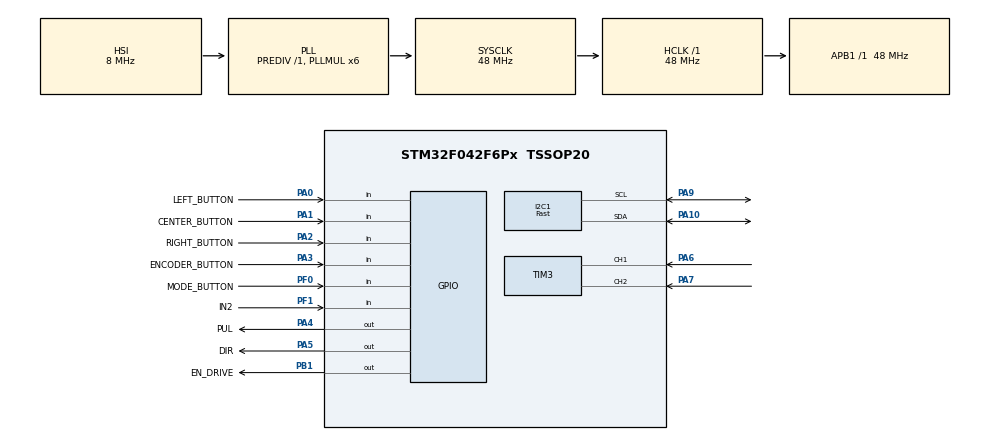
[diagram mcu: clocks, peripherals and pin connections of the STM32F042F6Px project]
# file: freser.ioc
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I2C1.I2C_Speed_Mode=I2C_Fast
I2C1.Timing=0x0000020B
Mcu.Family=STM32F0
Mcu.Name=STM32F042F6Px
Mcu.Package=TSSOP20
PA0.GPIO_Label=LEFT_BUTTON
PA0.GPIO_PuPd=GPIO_PULLDOWN
PA0.Signal=GPIO_Input
PA1.GPIO_Label=CENTER_BUTTON
PA1.GPIO_PuPd=GPIO_PULLDOWN
PA1.Signal=GPIO_Input
PA10.Mode=I2C
PA10.Signal=I2C1_SDA
PA13.Mode=Serial_Wire
PA13.Signal=SYS_SWDIO
PA14.Mode=Serial_Wire
PA14.Signal=SYS_SWCLK
PA2.GPIO_Label=RIGHT_BUTTON
PA2.GPIO_PuPd=GPIO_PULLDOWN
PA2.Signal=GPIO_Input
PA3.GPIO_Label=ENCODER_BUTTON
PA3.Signal=GPIO_Input
PA4.GPIO_Label=PUL
PA4.Signal=GPIO_Output
PA5.GPIO_Label=DIR
PA5.Signal=GPIO_Output
PA6.GPIO_PuPd=GPIO_PULLUP
PA6.Signal=S_TIM3_CH1
PA7.GPIO_PuPd=GPIO_PULLUP
PA7.Signal=S_TIM3_CH2
PA9.Mode=I2C
PA9.Signal=I2C1_SCL
PB1.GPIO_Label=EN_DRIVE
PB1.Signal=GPIO_Output
PF0-OSC_IN.GPIO_Label=MODE_BUTTON
PF0-OSC_IN.Signal=GPIO_Input
PF1-OSC_OUT.GPIO_Label=IN2
PF1-OSC_OUT.Signal=GPIO_Input
ProjectManager.HeapSize=0x200
ProjectManager.StackSize=0x400
ProjectManager.TargetToolchain=MDK-ARM V5.32
RCC.AHBFreq_Value=48000000
RCC.APB1Freq_Value=48000000
RCC.APB1TimFreq_Value=48000000
RCC.HCLKFreq_Value=48000000
RCC.PLLMUL=RCC_PLL_MUL6
RCC.SYSCLKFreq_VALUE=48000000
RCC.SYSCLKSource=RCC_SYSCLKSOURCE_PLLCLK
SH.S_TIM3_CH1.0=TIM3_CH1,Encoder_Interface
SH.S_TIM3_CH2.0=TIM3_CH2,Encoder_Interface
TIM3.IC1Filter=1
TIM3.IC2Filter=2
board=custom

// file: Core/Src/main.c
/* USER CODE BEGIN Header */
/**
  ******************************************************************************
  * @file           : main.c
  * @brief          : Main program body
  ******************************************************************************
  * @attention
  *
  * Copyright (c) 2023 STMicroelectronics.
  * All rights reserved.
  *
  * This software is licensed under terms that can be found in the LICENSE file
  * in the root directory of this software component.
  * If no LICENSE file comes with this software, it is provided AS-IS.
  *
  ******************************************************************************
  */
/* USER CODE END Header */
#include "main.h"
#include "i2c.h"
#include "tim.h"
#include "gpio.h"

/* USER CODE BEGIN Includes */
#include "typedef.h"
#include "ssd1306.h"
#include "button.h"
#include "drive.h"
#include "eeprom.h"
#include "angle_calc.h"
/* USER CODE END Includes */

/* USER CODE BEGIN PV */

angular_data_t curr_rotation = {0}; //структура с угловыми данными привода
encoder_data_t encoder_data = {0}; //структура с данными энкодера
milling_data_t milling_mode = {0};
STATUS_FLAG_t status_flag;

__IO uint16_t key_code = NO_KEY;
/* USER CODE END PV */

void SystemClock_Config(void);
/* USER CODE BEGIN PFP */
void SetupRotationMode (encoder_data_t *, angular_data_t *, uint8_t * );
void SetupMillingMode (milling_data_t *, encoder_data_t *, angular_data_t *, uint8_t *);
void init_setup (milling_data_t * , angular_data_t * , STATUS_FLAG_t * , uint8_t * );
/* USER CODE END PFP */

/* USER CODE BEGIN 0 */
//---------------------------------------------------------------------------------=-------------------//

/* USER CODE END 0 */

int main(void)
{

  /* MCU Configuration--------------------------------------------------------*/

  /* Reset of all peripherals, Initializes the Flash interface and the Systick. */
  HAL_Init();

  /* Configure the system clock */
  SystemClock_Config();

  /* Initialize all configured peripherals */
  MX_GPIO_Init();
  MX_I2C1_Init();
  MX_TIM3_Init();
  /* USER CODE BEGIN 2 */
	encoder_init();
	timers_ini ();

	ssd1306_Init();
	delay_us (10000); //10 мс задержка
	//ssd1306_Init();

	init_setup (&milling_mode , &curr_rotation, &status_flag, eeprom_tx_buffer); //получение из EEPROM и обработка всех настроек

	DRIVE_ENABLE(OFF); //отключение привода
	STEP(OFF); //
	delay_us (10000); //10 мс задержка

  /* USER CODE END 2 */

  /* Infinite loop */
  /* USER CODE BEGIN WHILE */
  while (1)
  {
		if ((key_code = scan_keys()) != NO_KEY) //если была нажата кнопка
		{
			if (status_flag.tool_mode == MODE_DEFAULT) //если активен режим 1
			{
				switch (key_code) //обработка кода нажатой кнопки
				{
					case KEY_LEFT:	//нажатие левой кнопки
						key_code = NO_KEY;
						break;

					case KEY_CENTER_SHORT: //короткое нажатие центр. кнопки - переход в подрежим возврата вала в нулевую позицию
						return_mode_screen (&curr_rotation, &Font_11x18); //заставка режима возврата вала
						while(1)
						{
							if ((key_code = scan_keys()) == NO_KEY) //пока не нажата какая-нибудь кнопка
							{	continue;	} //ожидание нажатия любой кнопки
							else
							{
								switch (key_code)
								{
									case KEY_LEFT:
										left_rotate_to_zero ( &curr_rotation, &encoder_data); //поворот против часовой позиции в нулевую позицию
										curr_rotation.mode1_error = 0; //обнуление накопленной ошибки режима 1 при возврате в нулевую позицию
										break;

									case KEY_CENTER_SHORT:
										key_code = NO_KEY;
										break;

									case KEY_RIGHT:
										right_rotate_to_zero (&curr_rotation, &encoder_data); //поворот по часовой позиции в нулевую позицию
										curr_rotation.mode1_error = 0; //обнуление накопленной ошибки режима 1 при возврате в нулевую позицию
										break;

									default:
										key_code = NO_KEY; //выход из подрежима
										break;
								}
								default_screen_mode1 (&curr_rotation, &Font_11x18);	//главное меню режима 1
								break;
							}
						}
						break;

					case KEY_CENTER_LONG:	//длинное нажатие центр. кнопки - текущее положение вала устанавливается нулевым
						curr_rotation.mode1_error = 0;//обнуление накопленной ошибки режима 1 при возврате в нулевую позицию
						AngleShaftReset (&curr_rotation); //сброс текущего положения вала
						angle_to_EEPROMbuf (&curr_rotation, eeprom_tx_buffer); //cохранение в буфере EEPROM текущих данных угла вала
						EEPROM_WriteBytes (EEPROM_MEMORY_PAGE, eeprom_tx_buffer, (EEPROM_NUMBER_BYTES-6)); //запись 8 байт
						default_screen_mode1 (&curr_rotation, &Font_11x18); //главное меню режима 1
						break;

					case KEY_RIGHT: //нажатие правой кнопки
						key_code = NO_KEY;
						break;

					case KEY_ENC_SHORT: //короткое нажатие кнопки энкодера - подрежим установки шага хода вала
						curr_rotation.mode1_error = 0;//обнуление накопленной ошибки режима 1
						SetupRotationMode (&encoder_data, &curr_rotation, eeprom_tx_buffer); //подрежим ввода нового значения шага хода вала
						angle_to_EEPROMbuf (&curr_rotation, eeprom_tx_buffer);  //сохранение в EEPROM
						EEPROM_WriteBytes (EEPROM_MEMORY_PAGE, eeprom_tx_buffer, (EEPROM_NUMBER_BYTES-10)); //4 байт
						break;

					case KEY_ENC_LONG:
						key_code = NO_KEY;
						break;

					case KEY_MODE_SHORT:
						key_code = NO_KEY;
						break;

					case KEY_MODE_LONG:
						status_flag.tool_mode = MODE_MILLING; //режим - фрезеровка
						angle_to_EEPROMbuf (&curr_rotation, eeprom_tx_buffer);  //сохранение угловых данных положения вала
						teeth_angle_to_EEPROMbuf (&milling_mode, eeprom_tx_buffer, &status_flag); //сохранение данных режима фрезировки
						EEPROM_WriteBytes (EEPROM_MEMORY_PAGE, eeprom_tx_buffer, (EEPROM_NUMBER_BYTES-3)); //запись 11 байт
						default_screen_mode2 (&milling_mode, &Font_11x18);	//заставка дисплея - режим фрезеровки по умолчанию
						break;

					default:
						key_code = NO_KEY;
						break;
				}
			}
			else
			{
				if (status_flag.tool_mode == MODE_MILLING) //если активен первый режим == MODE_MILLING) //режим фрезировка
				{
					switch (key_code)
					{
						case KEY_LEFT: //нажатие левой кнопки
							left_teeth_rotation (&milling_mode, &curr_rotation); //поворот фрезы против часовой стрелке
							teeth_angle_to_EEPROMbuf (&milling_mode, eeprom_tx_buffer, &status_flag); //сохранение данных режима фрезировки
							EEPROM_WriteBytes (EEPROM_MEMORY_PAGE, eeprom_tx_buffer, (EEPROM_NUMBER_BYTES-3)); //запись 11 байт
							default_screen_mode2 (&milling_mode, &Font_11x18); //заставка дисплея - режим 2 по умолчанию
							break;

						case KEY_CENTER_SHORT: //переход в подрежим возврата вала
							return_mode_screen (&curr_rotation, &Font_11x18); //заставка дисплея - режима возврата вала
							while(1)
							{
								if ((key_code = scan_keys()) == NO_KEY) //пока не нажата какая-нибудь кнопка
								{	continue;	} 	//крутимся в бесконечном цикле
								else
								{
									switch (key_code) //если кнопка была нажата
									{
										case KEY_LEFT:
											left_rotate_to_zero (&curr_rotation, &encoder_data); //поворот против часовой позиции в нулевую позицию
											RemainTeethReset (&milling_mode); //сброс количества оставшихся зубьев
											MilingFlagReset (&milling_mode, &status_flag); //сброс флагов и накопленной ошибки
											break;

										case KEY_RIGHT:
											right_rotate_to_zero (&curr_rotation, &encoder_data); //поворот по часовой позиции в нулевую позицию
											RemainTeethReset (&milling_mode); //сброс количества оставшихся зубьев
											MilingFlagReset (&milling_mode, &status_flag); //сброс флагов и накопленной ошибки
											break;

										default:
											key_code = NO_KEY;
											break;
									}
									default_screen_mode2 (&milling_mode, &Font_11x18);	//главное меню режима фрезеровки
									break;
								}
							}
							break;

						case KEY_CENTER_LONG:
							default_screen_mode2 (&milling_mode, &Font_11x18); //главное меню режима фрезеровки
							break;

						case KEY_RIGHT: //правая кнопка панели
							right_teeth_rotation	(&milling_mode, &curr_rotation); //поворот фрезы по часовой стрелке
							teeth_angle_to_EEPROMbuf (&milling_mode, eeprom_tx_buffer, &status_flag); //сохранение введёных настроек режима фрезировки
							EEPROM_WriteBytes (EEPROM_MEMORY_PAGE, eeprom_tx_buffer, (EEPROM_NUMBER_BYTES-3)); //запись 11 байт
							default_screen_mode2 	(&milling_mode, &Font_11x18); //заставка дисплея - режим 2 по умолчанию
							break;

						case KEY_ENC_SHORT: //короткое нажатие энкодера	- установка количества зубьев детали
							MilingFlagReset (&milling_mode, &status_flag); //сброс флагов и накопленной ошибки
							SetupMillingMode (&milling_mode, &encoder_data, &curr_rotation, eeprom_tx_buffer); //подрежим установки количества зубьев детали
							default_screen_mode2 (&milling_mode, &Font_11x18); //главное меню режима фрезеровки
							break;

						case KEY_ENC_LONG:
							key_code = NO_KEY;
							break;

						case KEY_MODE_SHORT:
							default_screen_mode2 (&milling_mode, &Font_11x18); //заставка дисплея - режим 1
							break;

						case KEY_MODE_LONG:
							status_flag.tool_mode = MODE_DEFAULT; //если активен первый режим = MODE_DEFAULT; //установка режима по умолчанию
							angle_to_EEPROMbuf (&curr_rotation, eeprom_tx_buffer);  //сохранение угловых данных положения вала
							teeth_angle_to_EEPROMbuf (&milling_mode, eeprom_tx_buffer, &status_flag); //сохранение данных режима фрезировки
							EEPROM_WriteBytes (EEPROM_MEMORY_PAGE, eeprom_tx_buffer, (EEPROM_NUMBER_BYTES-3)); //запись 11 байт
							GetAngleShaft_from_Seconds (&curr_rotation); //получение текущего положения вала в формате гр/мин/с
							encoder_reset (&encoder_data); 	//сброс показаний энкодера (если энкодер крутили во втором режиме)
							default_screen_mode1 (&curr_rotation, &Font_11x18); //заставка дисплея - режим 1
							break;

						default:
							key_code = NO_KEY;
							break;
					}
				}
			}
		}

		if (status_flag.tool_mode == MODE_DEFAULT) //если активен первый режим
		{
			//enc_shaft_rotation (&curr_rotation, &encoder_data);	 //отслеживания положения энкодера и поворот	вала в случае изменения его изменения
			read_enc_shaft_rotation (&curr_rotation, &encoder_data);	//чтение и обработка показаний энкодера
			step_by_step (&curr_rotation, &encoder_data); //изменение положения вала при необходимости
		}
    /* USER CODE END WHILE */

  }
}

void SystemClock_Config(void)
{
  RCC_OscInitTypeDef RCC_OscInitStruct = {0};
  RCC_ClkInitTypeDef RCC_ClkInitStruct = {0};
  RCC_PeriphCLKInitTypeDef PeriphClkInit = {0};

  /** Initializes the RCC Oscillators according to the specified parameters
  * in the RCC_OscInitTypeDef structure.
  */
  RCC_OscInitStruct.OscillatorType = RCC_OSCILLATORTYPE_HSI;
  RCC_OscInitStruct.HSIState = RCC_HSI_ON;
  RCC_OscInitStruct.HSICalibrationValue = RCC_HSICALIBRATION_DEFAULT;
  RCC_OscInitStruct.PLL.PLLState = RCC_PLL_ON;
  RCC_OscInitStruct.PLL.PLLSource = RCC_PLLSOURCE_HSI;
  RCC_OscInitStruct.PLL.PLLMUL = RCC_PLL_MUL6;
  RCC_OscInitStruct.PLL.PREDIV = RCC_PREDIV_DIV1;
  if (HAL_RCC_OscConfig(&RCC_OscInitStruct) != HAL_OK)
  {
    Error_Handler();
  }

  /** Initializes the CPU, AHB and APB buses clocks
  */
  RCC_ClkInitStruct.ClockType = RCC_CLOCKTYPE_HCLK|RCC_CLOCKTYPE_SYSCLK
                              |RCC_CLOCKTYPE_PCLK1;
  RCC_ClkInitStruct.SYSCLKSource = RCC_SYSCLKSOURCE_PLLCLK;
  RCC_ClkInitStruct.AHBCLKDivider = RCC_SYSCLK_DIV1;
  RCC_ClkInitStruct.APB1CLKDivider = RCC_HCLK_DIV1;

  if (HAL_RCC_ClockConfig(&RCC_ClkInitStruct, FLASH_LATENCY_1) != HAL_OK)
  {
    Error_Handler();
  }
  PeriphClkInit.PeriphClockSelection = RCC_PERIPHCLK_I2C1;
  PeriphClkInit.I2c1ClockSelection = RCC_I2C1CLKSOURCE_HSI;
  if (HAL_RCCEx_PeriphCLKConfig(&PeriphClkInit) != HAL_OK)
  {
    Error_Handler();
  }
}

/* USER CODE BEGIN 4 */
//---------------------------функция ввода угловых настроечных данных режима 1---------------------------//
void SetupRotationMode (encoder_data_t * handle_enc, angular_data_t * handle_ang, uint8_t * TXbuffer)
{
	setangle_mode_screen (handle_ang, &Font_11x18); //меню заставки режима установки шага
	handle_enc->prevCounter_SetAngle = handle_enc->prevCounter_ShaftRotation; //сброс измений показаний энкодера
	while(1) //установка угловых данных шага угла
	{
		set_angle(handle_ang, handle_enc);	//проверка показаний энкодера
		if ((key_code = scan_keys()) != NO_KEY)
		{
			if (key_code == KEY_ENC_LONG) //длинное нажатие кнопки энкодера - сброс установленного шага хода вала и ввод нового значения шага
			{
				SetAngleReset (&curr_rotation); //сброс установленного угла поворота до минимального значения
				angle_to_EEPROMbuf (&curr_rotation, eeprom_tx_buffer);  //сохранение в EEPROM
				EEPROM_WriteBytes (EEPROM_MEMORY_PAGE, eeprom_tx_buffer, (EEPROM_NUMBER_BYTES-10)); //4 байт
				setangle_mode_screen (handle_ang, &Font_11x18);
				continue;
			}
			else
			{
				if (key_code ==  KEY_ENC_SHORT)
				{
					angle_to_EEPROMbuf (handle_ang, TXbuffer); //перенос данных угла в буффер
					EEPROM_WriteBytes (EEPROM_MEMORY_PAGE, TXbuffer, (EEPROM_NUMBER_BYTES-10)); //запись 4 байт (настроек шага хода вала)
					handle_enc->prevCounter_ShaftRotation = handle_enc->prevCounter_SetAngle; //сброс изменений показаний энкодера
					default_screen_mode1 (handle_ang, &Font_11x18); //заставка дисплея - режим 1 по умолчанию
					break;
				}
			}
			key_code = NO_KEY;
		}
	}
}

//---------------------------функция ввода настроечных данных фрезеровки в режиме 2---------------------------//
void SetupMillingMode (milling_data_t * handle_mil, encoder_data_t * handle_enc, angular_data_t * handle_ang, uint8_t * TXbuffer)
{
	encoder_reset (handle_enc); 	//сброс показаний энкодера
	setteeth_mode_screen (handle_mil, &Font_11x18); //заставка дисплея - режим ввода настроечных данных фрезеровки

	while(1) //режим установки количества зубов шестерёнки
	{
		set_teeth_gear(handle_mil, handle_enc);	 //опрос энкодера - установка количества зубьев шестерёнки
		if ((key_code = scan_keys()) != NO_KEY)
		{
			if (key_code ==  KEY_ENC_LONG) //длинное нажатие энкодера - сброс всех настроек режима фрезеровки и установка количества зубьев детали
			{
				MilAngleTeethReset (&milling_mode, &status_flag); //сброс всех установок режима фрезеровки
				setteeth_mode_screen (handle_mil, &Font_11x18);
				continue;
			}
			else
			{
				if (key_code ==  KEY_ENC_SHORT)
				{
					GetMilAngleTeeth (handle_mil); //расчёт угла поворота после ввода количества зубов
					handle_mil->remain_teeth_gear = handle_mil->teeth_gear_numbers; //сброс количества оставшихся зубов
					angle_to_EEPROMbuf (handle_ang, TXbuffer); //сохранение текущего положения вала в EEPROM буффере
					teeth_angle_to_EEPROMbuf (handle_mil, TXbuffer, &status_flag); //сохранение данных фрезеровки в EEPROM буффере
					EEPROM_WriteBytes (EEPROM_MEMORY_PAGE, TXbuffer, EEPROM_NUMBER_BYTES-3 ); //отправка в EEPROM 11 байт
					handle_enc->prevCounter_ShaftRotation = handle_enc->prevCounter_SetAngle; //сброс показаний энкодера
					default_screen_mode2 (handle_mil, &Font_11x18);
					break;
				}
			}
			key_code = NO_KEY;
		}
	}

/*	select_rotation_mode_screen(); //заставка подрежима установки направления фрезеровки
	while (1) //установка направления фрезеровки
	{
		key_code = scan_keys();
		if ((key_code == KEY_RIGHT) || (key_code == KEY_LEFT))
		{
			if (key_code == KEY_RIGHT)
			{	status_flag.right_flag = ON;	}
			else
			{
				if (key_code == KEY_LEFT)
				{	status_flag.left_flag = ON;	}
			}
			break;
		}
	}*/
}

//-------------------------------------------------------------------------------------------------------//
void init_setup (milling_data_t * handle_mil, angular_data_t * handle_ang, STATUS_FLAG_t * status_flag, uint8_t * TXbuffer)
{
	EEPROM_ReadBytes (EEPROM_MEMORY_PAGE, TXbuffer, (EEPROM_NUMBER_BYTES-3)); //получение угловых данных установки поворота из EEPROM
	angle_from_EEPROMbuf (handle_ang, TXbuffer); //инициализация и конвертация угловых данных установки поворота в структуру
	teeth_angle_from_EEPROMbuf (handle_mil, TXbuffer, status_flag); //инициализация и конвертация угловых данных режима фрезировки

	//проверка достоверности полученных угловых данных режима 1
	if ((handle_ang->ShaftAngleInSec > CIRCLE_IN_SEC) || (handle_ang->StepAngleInSec >= CIRCLE_IN_SEC))
	{
		SetAngleReset (handle_ang); //если данные недостоверные - сброс настройки шага хода вала
		AngleShaftReset (handle_ang); //если данные недостоверные - текущее положение вала нулевое
	}
	GetSetAngle_from_Seconds (handle_ang); 		//перевод угловых данных установки угла в формат гр/мин/с
	GetAngleShaft_from_Seconds (handle_ang);	//перевод угловых данных положения вала в формат гр/мин/с

	GetMilAngleTeeth (handle_mil); //подсчёт угла хода вала для режима фрезировки
	if ((handle_mil->AngleTeethInSec > CIRCLE_IN_SEC))//проверка достоверности полученных угловых данных режима фрезеровки
	{	MilAngleTeethReset (handle_mil, status_flag);	}//если данные недостоверные - сброс настроек режима фрезеровки
	MilAngleTeeth_from_Seconds (handle_mil); //перевод угловых данных хода шага фрезировки в формат гр/мин/с

	handle_ang->SetShaftAngleInSec = handle_ang->ShaftAngleInSec; //текущее положение равно уставке

	//status_flag->tool_mode = MODE_DEFAULT;

	if (status_flag->tool_mode == MODE_DEFAULT)
	{ default_screen_mode1 (handle_ang, &Font_11x18); } //заставка по умолчанию режима 1
	else
	{ default_screen_mode2 (handle_mil, &Font_11x18); } //заставка по умолчанию режима фрезеровка
}

//-------------------------------------------------------------------------------------------------------//
/* USER CODE END 4 */

void Error_Handler(void)
{
  __disable_irq();
  while (1)
  {
  }
}
